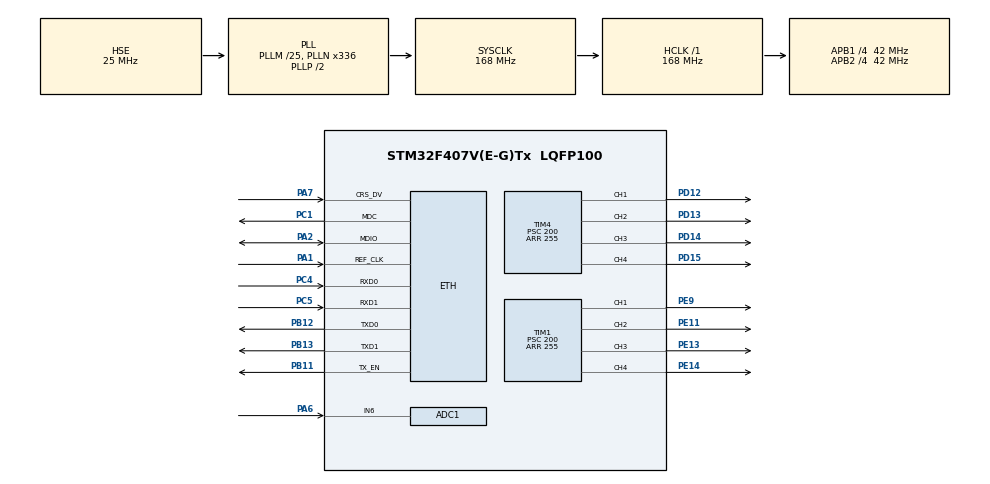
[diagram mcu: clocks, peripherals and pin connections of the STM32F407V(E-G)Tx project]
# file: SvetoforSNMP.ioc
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ADC1.Channel-0\#ChannelRegularConversion=ADC_CHANNEL_6
ADC1.ContinuousConvMode=DISABLE
ADC1.NbrOfConversion=1
ADC1.NbrOfConversionFlag=1
ADC1.Rank-0\#ChannelRegularConversion=1
ADC1.SamplingTime-0\#ChannelRegularConversion=ADC_SAMPLETIME_3CYCLES
ADC1.master=1
ETH.MACAddr=00\:13\:37\:01\:23\:45
ETH.MediaInterface=ETH_MEDIA_INTERFACE_RMII
ETH.PHY_Name_RMII=DP83848_PHY_ADDRESS
ETH.PhyAddress=1
FREERTOS.Tasks01=HTTPserver,0,2560,HTTPinit,Default,NULL,Dynamic,NULL,NULL;temperature,0,1280,temp_measur,Default,NULL,Dynamic,NULL,NULL;modBus,0,1280,modBusInit,Default,NULL,Dynamic,NULL,NULL
FREERTOS.configMAX_CO_ROUTINE_PRIORITIES=4
FREERTOS.configMINIMAL_STACK_SIZE=512
FREERTOS.configTOTAL_HEAP_SIZE=52720
IWDG.Prescaler=IWDG_PRESCALER_256
LWIP.DEFAULT_ACCEPTMBOX_SIZE=12
LWIP.DEFAULT_TCP_RECVMBOX_SIZE=12
LWIP.DEFAULT_THREAD_STACKSIZE=2048
LWIP.DEFAULT_UDP_RECVMBOX_SIZE=12
LWIP.GATEWAY_ADDRESS=192.168.000.001
LWIP.IP_ADDRESS=192.168.000.010
LWIP.LWIP_DHCP=0
LWIP.LWIP_HTTPD=1
LWIP.LWIP_HTTPD_CGI=1
LWIP.LWIP_HTTPD_CGI_SSI=0
LWIP.LWIP_HTTPD_MAX_TAG_NAME_LEN=26
LWIP.LWIP_HTTPD_SSI=1
LWIP.LWIP_HTTPD_SSI_MULTIPART=0
LWIP.LWIP_MIB2_CALLBACKS=0
LWIP.LWIP_SNMP=1
LWIP.MEMP_NUM_TCP_PCB=20
LWIP.MEMP_NUM_TCP_SEG=24
LWIP.MEMP_NUM_UDP_PCB=20
LWIP.MEM_SIZE=2048
LWIP.NETMASK_ADDRESS=255.255.255.000
LWIP.SLIPIF_THREAD_STACKSIZE=2048
LWIP.SNMP_STACK_SIZE=2048
LWIP.SNMP_THREAD_PRIO=6
LWIP.SNMP_USE_NETCONN=1
LWIP.SNMP_USE_RAW=0
LWIP.TCPIP_THREAD_STACKSIZE=2048
LWIP.TCP_MSS=460
LWIP.TCP_SND_BUF=1840
LWIP.TCP_WND=3096
LWIP.Version=v2.0.3_Cube
Mcu.Family=STM32F4
Mcu.Name=STM32F407V(E-G)Tx
Mcu.Package=LQFP100
NVIC.ADC_IRQn=true\:5\:0\:false\:false\:true\:true\:true\:true
NVIC.ETH_IRQn=true\:5\:0\:false\:false\:true\:true\:false\:true
NVIC.PriorityGroup=NVIC_PRIORITYGROUP_4
NVIC.TIM2_IRQn=true\:0\:0\:false\:false\:true\:false\:false\:true
NVIC.TimeBase=TIM2_IRQn
NVIC.TimeBaseIP=TIM2
PA1.Mode=RMII
PA1.Signal=ETH_REF_CLK
PA13.Mode=Serial_Wire
PA13.Signal=SYS_JTMS-SWDIO
PA14.Mode=Serial_Wire
PA14.Signal=SYS_JTCK-SWCLK
PA2.Mode=RMII
PA2.Signal=ETH_MDIO
PA6.Signal=ADCx_IN6
PA7.Mode=RMII
PA7.Signal=ETH_CRS_DV
PB11.Mode=RMII
PB11.Signal=ETH_TX_EN
PB12.Mode=RMII
PB12.Signal=ETH_TXD0
PB13.Mode=RMII
PB13.Signal=ETH_TXD1
PC1.Mode=RMII
PC1.Signal=ETH_MDC
PC4.Mode=RMII
PC4.Signal=ETH_RXD0
PC5.Mode=RMII
PC5.Signal=ETH_RXD1
PD12.Signal=S_TIM4_CH1
PD13.Signal=S_TIM4_CH2
PD14.Signal=S_TIM4_CH3
PD15.Signal=S_TIM4_CH4
PE11.Signal=S_TIM1_CH2
PE13.Signal=S_TIM1_CH3
PE14.Signal=S_TIM1_CH4
PE9.Signal=S_TIM1_CH1
PH0-OSC_IN.Mode=HSE-External-Oscillator
PH0-OSC_IN.Signal=RCC_OSC_IN
PH1-OSC_OUT.Mode=HSE-External-Oscillator
PH1-OSC_OUT.Signal=RCC_OSC_OUT
ProjectManager.HeapSize=0x2000
ProjectManager.StackSize=0x4000
ProjectManager.TargetToolchain=SW4STM32
RCC.48MHZClocksFreq_Value=84000000
RCC.AHBFreq_Value=168000000
RCC.APB1CLKDivider=RCC_HCLK_DIV4
RCC.APB1Freq_Value=42000000
RCC.APB1TimFreq_Value=84000000
RCC.APB2CLKDivider=RCC_HCLK_DIV4
RCC.APB2Freq_Value=42000000
RCC.APB2TimFreq_Value=84000000
RCC.CortexFreq_Value=168000000
RCC.HCLKFreq_Value=168000000
RCC.HSE_VALUE=25000000
RCC.HSI_VALUE=16000000
RCC.LSE_VALUE=32768
RCC.PLLM=25
RCC.PLLN=336
RCC.PLLSourceVirtual=RCC_PLLSOURCE_HSE
RCC.SYSCLKFreq_VALUE=168000000
RCC.SYSCLKSource=RCC_SYSCLKSOURCE_PLLCLK
RCC.VCOOutputFreq_Value=336000000
SH.ADCx_IN6.0=ADC1_IN6,IN6
SH.S_TIM1_CH1.0=TIM1_CH1,PWM Generation1 CH1
SH.S_TIM1_CH2.0=TIM1_CH2,PWM Generation2 CH2
SH.S_TIM1_CH3.0=TIM1_CH3,PWM Generation3 CH3
SH.S_TIM1_CH4.0=TIM1_CH4,PWM Generation4 CH4
SH.S_TIM4_CH1.0=TIM4_CH1,PWM Generation1 CH1
SH.S_TIM4_CH2.0=TIM4_CH2,PWM Generation2 CH2
SH.S_TIM4_CH3.0=TIM4_CH3,PWM Generation3 CH3
SH.S_TIM4_CH4.0=TIM4_CH4,PWM Generation4 CH4
TIM1.Channel-PWM\ Generation1\ CH1=TIM_CHANNEL_1
TIM1.Channel-PWM\ Generation2\ CH2=TIM_CHANNEL_2
TIM1.Channel-PWM\ Generation3\ CH3=TIM_CHANNEL_3
TIM1.Channel-PWM\ Generation4\ CH4=TIM_CHANNEL_4
TIM1.Period=255
TIM1.Prescaler=200
TIM4.Channel-PWM\ Generation1\ CH1=TIM_CHANNEL_1
TIM4.Channel-PWM\ Generation2\ CH2=TIM_CHANNEL_2
TIM4.Channel-PWM\ Generation3\ CH3=TIM_CHANNEL_3
TIM4.Channel-PWM\ Generation4\ CH4=TIM_CHANNEL_4
TIM4.Period=255
TIM4.Prescaler=200
VP_FREERTOS_VS_CMSIS_V1.Mode=CMSIS_V1
VP_IWDG_VS_IWDG.Mode=IWDG_Activate
VP_LWIP_VS_Enabled.Mode=Enabled
VP_SYS_VS_tim2.Mode=TIM2
board=LAN8720_HTTP_SERVER_RAW

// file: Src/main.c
/* USER CODE BEGIN Header */
/**
 ******************************************************************************
 * @           : main.c
 * @brief          : Main program body
 ******************************************************************************
 * @attention
 *
 * <h2><center>&copy; Copyright (c) 2021 STMicroelectronics.
 * All rights reserved.</center></h2>
 *
 * This software component is licensed by ST under Ultimate Liberty license
 * SLA0044, the "License"; You may not use this file except in compliance with
 * the License. You may obtain a copy of the License at:
 *                             www.st.com/SLA0044
 *
 ******************************************************************************
 */
/* USER CODE END Header */

#include "main.h"
#include "cmsis_os.h"
#include "lwip.h"

/* USER CODE BEGIN Includes */
#include "lwip/apps/httpd.h"
#include "stdint.h"
#include "string.h"
#include "my_mibs.h"
#include "ssi.h"
#include "cgi.h"
#include "math.h"
#include "lwip/opt.h"
#include "lwip/arch.h"
#include "lwip/api.h"
#include "lwip/apps/fs.h"
#include "flash_if.h"
#include "flash_write.h"
#include "net_param_init.h"
/* USER CODE END Includes */

/* USER CODE BEGIN PTD */
osMailQId TemperatureHandle;
/* USER CODE END PTD */

/* USER CODE BEGIN PD */
typedef struct struct_sock_t {

	struct netconn *conn;
} struct_sock;
struct_sock sock01;
uint16_t tcp_port = 502;
/* USER CODE END PD */

/* USER CODE BEGIN PM */

/* initialization SSI and CGI */
extern uint16_t SSI_Handler(int iIndex, char *pcInsert, int iInsertLen);
extern char const** TAGS;

extern const tCGI CLR_All_CGI;
extern const tCGI CLR1_CGI;
extern const tCGI CLR2_CGI;
extern const tCGI IP_CGI;
extern const tCGI MAC_CGI;
extern const tCGI MSK_CGI;
extern const tCGI GTW_CGI;

extern tCGI CGI_TAB[7];

extern uint8_t Red1_str[3];
extern uint8_t Red2_str[3];
extern uint8_t Green1_str[3];
extern uint8_t Green2_str[3];
extern uint8_t Blue1_str[3];
extern uint8_t Blue2_str[3];
extern uint8_t White1_str[3];
extern uint8_t White2_str[3];

extern const struct snmp_mib mib2;
static const struct snmp_mib *my_snmp_mibs[] = { &mib2, &pashnin_mib };

u8_t * syscontact_str = (u8_t*) "Si Tech";
u16_t syscontact_len = sizeof("Si Tech");
u8_t * syslocation_str = (u8_t*) "SNMP traffic light";
u16_t syslocation_len = sizeof("SNMP traffic light");
u8_t * sysname_str = (u8_t*) "Traffic light";
u16_t sysname_len = sizeof("Traffic light");
u16_t bufsize = 256;
const u8_t * sysdescr = (u8_t*) "SNMP traffic light made in Si Tech ";
const u16_t sysdescr_len = sizeof("SNMP traffic light made in Si Tech ");
//temperature for SSI and SNMP
float T_avg = 0;

/* USER CODE END PM */

ADC_HandleTypeDef hadc1;

IWDG_HandleTypeDef hiwdg;

TIM_HandleTypeDef htim1;
TIM_HandleTypeDef htim4;

osThreadId HTTPserverHandle;
osThreadId temperatureHandle;
osThreadId modBusHandle;

void SystemClock_Config(void);
static void MX_GPIO_Init(void);
static void MX_ADC1_Init(void);
static void MX_TIM1_Init(void);
static void MX_TIM4_Init(void);
static void MX_IWDG_Init(void);
void HTTPinit(void const * argument);
void temp_measur(void const * argument);
void modBusInit(void const * argument);

/* USER CODE BEGIN PFP */
void generate_zero(uint8_t *buf, uint8_t size, uint8_t len) {

	for (int j = 0; j < len; j++) {
		buf[size - 1 - j] = buf[len - 1 - j];
	}
	for (int i = 0; i < size - len; i++) {
		buf[i] = '0';
	}
}
/* USER CODE END PFP */

int main(void) {
	/* USER CODE BEGIN 1 */
	__enable_irq();
	/* traffic light start data initialization */
	ColorRGBW[0] = 0;
	ColorRGBW[1] = 0;
	ColorRGBW[2] = 0;
	ColorRGBW[3] = 0;
	ColorRGBW[4] = 0;
	ColorRGBW[5] = 0;
	ColorRGBW[6] = 0;
	ColorRGBW[7] = 0;

	for (int i = 0; i < 3; i++) {
		Red1_str[i] = '0';
		Red2_str[i] = '0';
		Green1_str[i] = '0';
		Green2_str[i] = '0';
		Blue1_str[i] = '0';
		Blue2_str[i] = '0';
		White1_str[i] = '0';
		White2_str[i] = '0';
	}

	/* USER CODE END 1 */

	/* MCU Configuration--------------------------------------------------------*/

	/* Reset of all peripherals, Initializes the Flash interface and the Systick. */
	HAL_Init();

	/* USER CODE BEGIN Init */
	osMailQDef(Temperature, 1, data);
	TemperatureHandle = osMailCreate(osMailQ(Temperature), NULL);
	/* USER CODE END Init */

	/* Configure the system clock */
	SystemClock_Config();

	/* USER CODE BEGIN SysInit */
	//Initialize net parameters
	Net_Param_init();
	/* USER CODE END SysInit */

	/* Initialize all configured peripherals */
	MX_GPIO_Init();
	MX_LWIP_Init();
	MX_ADC1_Init();
	MX_TIM1_Init();
	MX_TIM4_Init();
	MX_IWDG_Init();

	/* Create the thread(s) */
	/* definition and creation of HTTPserver */
	osThreadDef(HTTPserver, HTTPinit, osPriorityNormal, 0, 2560);
	HTTPserverHandle = osThreadCreate(osThread(HTTPserver), NULL);

	/* definition and creation of temperature */
	osThreadDef(temperature, temp_measur, osPriorityNormal, 0, 1280);
	temperatureHandle = osThreadCreate(osThread(temperature), NULL);

	/* definition and creation of modBus */
	osThreadDef(modBus, modBusInit, osPriorityNormal, 0, 1280);
	modBusHandle = osThreadCreate(osThread(modBus), NULL);

	/* Start scheduler */
	osKernelStart();

	/* We should never get here as control is now taken by the scheduler */

	/* Infinite loop */
	while (1) {

	}
}

void SystemClock_Config(void) {
	RCC_OscInitTypeDef RCC_OscInitStruct = { 0 };
	RCC_ClkInitTypeDef RCC_ClkInitStruct = { 0 };

	/** Configure the main internal regulator output voltage
	 */
	__HAL_RCC_PWR_CLK_ENABLE()
	;
	__HAL_PWR_VOLTAGESCALING_CONFIG(PWR_REGULATOR_VOLTAGE_SCALE1);
	/** Initializes the CPU, AHB and APB busses clocks
	 */
	RCC_OscInitStruct.OscillatorType = RCC_OSCILLATORTYPE_LSI
			| RCC_OSCILLATORTYPE_HSE;
	RCC_OscInitStruct.HSEState = RCC_HSE_ON;
	RCC_OscInitStruct.LSIState = RCC_LSI_ON;
	RCC_OscInitStruct.PLL.PLLState = RCC_PLL_ON;
	RCC_OscInitStruct.PLL.PLLSource = RCC_PLLSOURCE_HSE;
	RCC_OscInitStruct.PLL.PLLM = 25;
	RCC_OscInitStruct.PLL.PLLN = 336;
	RCC_OscInitStruct.PLL.PLLP = RCC_PLLP_DIV2;
	RCC_OscInitStruct.PLL.PLLQ = 4;
	if (HAL_RCC_OscConfig(&RCC_OscInitStruct) != HAL_OK) {
		Error_Handler();
	}
	/** Initializes the CPU, AHB and APB busses clocks
	 */
	RCC_ClkInitStruct.ClockType = RCC_CLOCKTYPE_HCLK | RCC_CLOCKTYPE_SYSCLK
			| RCC_CLOCKTYPE_PCLK1 | RCC_CLOCKTYPE_PCLK2;
	RCC_ClkInitStruct.SYSCLKSource = RCC_SYSCLKSOURCE_PLLCLK;
	RCC_ClkInitStruct.AHBCLKDivider = RCC_SYSCLK_DIV1;
	RCC_ClkInitStruct.APB1CLKDivider = RCC_HCLK_DIV4;
	RCC_ClkInitStruct.APB2CLKDivider = RCC_HCLK_DIV4;

	if (HAL_RCC_ClockConfig(&RCC_ClkInitStruct, FLASH_LATENCY_5) != HAL_OK) {
		Error_Handler();
	}
}

static void MX_ADC1_Init(void) {

	ADC_ChannelConfTypeDef sConfig = { 0 };

	/** Configure the global features of the ADC (Clock, Resolution, Data Alignment and number of conversion)
	 */
	hadc1.Instance = ADC1;
	hadc1.Init.ClockPrescaler = ADC_CLOCK_SYNC_PCLK_DIV2;
	hadc1.Init.Resolution = ADC_RESOLUTION_12B;
	hadc1.Init.ScanConvMode = DISABLE;
	hadc1.Init.ContinuousConvMode = DISABLE;
	hadc1.Init.DiscontinuousConvMode = DISABLE;
	hadc1.Init.ExternalTrigConvEdge = ADC_EXTERNALTRIGCONVEDGE_NONE;
	hadc1.Init.ExternalTrigConv = ADC_SOFTWARE_START;
	hadc1.Init.DataAlign = ADC_DATAALIGN_RIGHT;
	hadc1.Init.NbrOfConversion = 1;
	hadc1.Init.DMAContinuousRequests = DISABLE;
	hadc1.Init.EOCSelection = ADC_EOC_SINGLE_CONV;
	if (HAL_ADC_Init(&hadc1) != HAL_OK) {
		Error_Handler();
	}
	/** Configure for the selected ADC regular channel its corresponding rank in the sequencer and its sample time.
	 */
	sConfig.Channel = ADC_CHANNEL_6;
	sConfig.Rank = 1;
	sConfig.SamplingTime = ADC_SAMPLETIME_3CYCLES;
	if (HAL_ADC_ConfigChannel(&hadc1, &sConfig) != HAL_OK) {
		Error_Handler();
	}

}

static void MX_IWDG_Init(void) {

	hiwdg.Instance = IWDG;
	hiwdg.Init.Prescaler = IWDG_PRESCALER_256;
	hiwdg.Init.Reload = 4095;
	if (HAL_IWDG_Init(&hiwdg) != HAL_OK) {
		Error_Handler();
	}

}

static void MX_TIM1_Init(void) {

	TIM_MasterConfigTypeDef sMasterConfig = { 0 };
	TIM_OC_InitTypeDef sConfigOC = { 0 };
	TIM_BreakDeadTimeConfigTypeDef sBreakDeadTimeConfig = { 0 };

	htim1.Instance = TIM1;
	htim1.Init.Prescaler = 200;
	htim1.Init.CounterMode = TIM_COUNTERMODE_UP;
	htim1.Init.Period = 255;
	htim1.Init.ClockDivision = TIM_CLOCKDIVISION_DIV1;
	htim1.Init.RepetitionCounter = 0;
	htim1.Init.AutoReloadPreload = TIM_AUTORELOAD_PRELOAD_DISABLE;
	if (HAL_TIM_PWM_Init(&htim1) != HAL_OK) {
		Error_Handler();
	}
	sMasterConfig.MasterOutputTrigger = TIM_TRGO_RESET;
	sMasterConfig.MasterSlaveMode = TIM_MASTERSLAVEMODE_DISABLE;
	if (HAL_TIMEx_MasterConfigSynchronization(&htim1, &sMasterConfig)
			!= HAL_OK) {
		Error_Handler();
	}
	sConfigOC.OCMode = TIM_OCMODE_PWM1;
	sConfigOC.Pulse = 0;
	sConfigOC.OCPolarity = TIM_OCPOLARITY_HIGH;
	sConfigOC.OCNPolarity = TIM_OCNPOLARITY_HIGH;
	sConfigOC.OCFastMode = TIM_OCFAST_DISABLE;
	sConfigOC.OCIdleState = TIM_OCIDLESTATE_RESET;
	sConfigOC.OCNIdleState = TIM_OCNIDLESTATE_RESET;
	if (HAL_TIM_PWM_ConfigChannel(&htim1, &sConfigOC, TIM_CHANNEL_1)
			!= HAL_OK) {
		Error_Handler();
	}
	if (HAL_TIM_PWM_ConfigChannel(&htim1, &sConfigOC, TIM_CHANNEL_2)
			!= HAL_OK) {
		Error_Handler();
	}
	if (HAL_TIM_PWM_ConfigChannel(&htim1, &sConfigOC, TIM_CHANNEL_3)
			!= HAL_OK) {
		Error_Handler();
	}
	if (HAL_TIM_PWM_ConfigChannel(&htim1, &sConfigOC, TIM_CHANNEL_4)
			!= HAL_OK) {
		Error_Handler();
	}
	sBreakDeadTimeConfig.OffStateRunMode = TIM_OSSR_DISABLE;
	sBreakDeadTimeConfig.OffStateIDLEMode = TIM_OSSI_DISABLE;
	sBreakDeadTimeConfig.LockLevel = TIM_LOCKLEVEL_OFF;
	sBreakDeadTimeConfig.DeadTime = 0;
	sBreakDeadTimeConfig.BreakState = TIM_BREAK_DISABLE;
	sBreakDeadTimeConfig.BreakPolarity = TIM_BREAKPOLARITY_HIGH;
	sBreakDeadTimeConfig.AutomaticOutput = TIM_AUTOMATICOUTPUT_DISABLE;
	if (HAL_TIMEx_ConfigBreakDeadTime(&htim1, &sBreakDeadTimeConfig)
			!= HAL_OK) {
		Error_Handler();
	}
	HAL_TIM_MspPostInit(&htim1);

}

static void MX_TIM4_Init(void) {

	TIM_MasterConfigTypeDef sMasterConfig = { 0 };
	TIM_OC_InitTypeDef sConfigOC = { 0 };

	htim4.Instance = TIM4;
	htim4.Init.Prescaler = 200;
	htim4.Init.CounterMode = TIM_COUNTERMODE_UP;
	htim4.Init.Period = 255;
	htim4.Init.ClockDivision = TIM_CLOCKDIVISION_DIV1;
	htim4.Init.AutoReloadPreload = TIM_AUTORELOAD_PRELOAD_DISABLE;
	if (HAL_TIM_PWM_Init(&htim4) != HAL_OK) {
		Error_Handler();
	}
	sMasterConfig.MasterOutputTrigger = TIM_TRGO_RESET;
	sMasterConfig.MasterSlaveMode = TIM_MASTERSLAVEMODE_DISABLE;
	if (HAL_TIMEx_MasterConfigSynchronization(&htim4, &sMasterConfig)
			!= HAL_OK) {
		Error_Handler();
	}
	sConfigOC.OCMode = TIM_OCMODE_PWM1;
	sConfigOC.Pulse = 0;
	sConfigOC.OCPolarity = TIM_OCPOLARITY_HIGH;
	sConfigOC.OCFastMode = TIM_OCFAST_DISABLE;
	if (HAL_TIM_PWM_ConfigChannel(&htim4, &sConfigOC, TIM_CHANNEL_1)
			!= HAL_OK) {
		Error_Handler();
	}
	if (HAL_TIM_PWM_ConfigChannel(&htim4, &sConfigOC, TIM_CHANNEL_2)
			!= HAL_OK) {
		Error_Handler();
	}
	if (HAL_TIM_PWM_ConfigChannel(&htim4, &sConfigOC, TIM_CHANNEL_3)
			!= HAL_OK) {
		Error_Handler();
	}
	if (HAL_TIM_PWM_ConfigChannel(&htim4, &sConfigOC, TIM_CHANNEL_4)
			!= HAL_OK) {
		Error_Handler();
	}
	HAL_TIM_MspPostInit(&htim4);

}

static void MX_GPIO_Init(void) {

	/* GPIO Ports Clock Enable */
	__HAL_RCC_GPIOH_CLK_ENABLE()
	;
	__HAL_RCC_GPIOC_CLK_ENABLE()
	;
	__HAL_RCC_GPIOA_CLK_ENABLE()
	;
	__HAL_RCC_GPIOE_CLK_ENABLE()
	;
	__HAL_RCC_GPIOB_CLK_ENABLE()
	;
	__HAL_RCC_GPIOD_CLK_ENABLE()
	;

}

/* USER CODE BEGIN 4 */
static void tcp_thread(void *arg) {

	err_t err, recv_err;
	struct netconn *conn;
	struct netbuf *inbuf;
	struct netconn *newconn;
	struct_sock *arg_sock;
	arg_sock = (struct_sock*) arg;
	conn = arg_sock->conn;
	u16_t buflen, buflen_answer;
	uint8_t* buf;
	uint8_t data[100] = { '\0' };

	for (;;) {

		err = netconn_accept(conn, &newconn);
		if (err == ERR_OK) {
			for (;;) {

				recv_err = netconn_recv(newconn, &inbuf);
				if (recv_err == ERR_OK) {
					netbuf_data(inbuf, (void**) &buf, &buflen);
					if ((buf[0] == 0x0D) || (buf[0] == 0x0A)) {
						netbuf_delete(inbuf);
						continue;
					}

					memset(data, '\0', sizeof(data));
					memcpy(data, buf, buflen);

					//read analog output
					if (data[7] == 0x3) {

						data[8] = data[11] * 2;
						data[5] = data[8] + 3;
						buflen_answer = data[5] + 6;

						if (data[9] == 0 && data[11] == 4) {
							for (int i = 0; i <= 8; i = i + 2) {
								data[9 + i] = 0;
								data[10 + i] = ColorRGBW[i / 2];
							}
						} else if (data[9] == 4 && data[11] == 4) {
							for (int i = 0; i <= 8; i = i + 2) {
								data[9 + i] = 0;
								data[10 + i] = ColorRGBW[4 + i / 2];
							}

						} else if (data[9] == 0 && data[11] == 8) {
							for (int i = 0; i <= 16; i = i + 2) {
								data[9 + i] = 0;
								data[10 + i] = ColorRGBW[i / 2];
							}
						} else {
							//if incorrect parameter
							buflen_answer = 9;
							data[5] = 3;
							data[7] = data[7] | 128;
							data[8] = 3;
						}
					}

					//recording multiple analog outputs
					else if (data[7] == 0x10) {

						buflen_answer = 12;
						data[5] = data[11] * 2 + 2;

						//1 traffic light
						if (data[9] == 0 && data[11] == 4 && data[12] == 8) {

							memset(Red1_str, '\0', sizeof(Red1_str));
							memset(Green1_str, '\0', sizeof(Green1_str));
							memset(Blue1_str, '\0', sizeof(Blue1_str));
							memset(White1_str, '\0', sizeof(White1_str));

							TIM1->CCR4 = data[14];
							TIM1->CCR3 = data[16];
							TIM1->CCR1 = data[18];
							TIM1->CCR2 = data[20];

							ColorRGBW[0] = data[14];
							ColorRGBW[1] = data[16];
							ColorRGBW[2] = data[18];
							ColorRGBW[3] = data[20];

							itoa(data[14], Red1_str, 10);
							itoa(data[16], Green1_str, 10);
							itoa(data[18], Blue1_str, 10);
							itoa(data[20], White1_str, 10);

							generate_zero(Red1_str, sizeof(Red1_str),
									strlen(Red1_str));
							generate_zero(Green1_str, sizeof(Green1_str),
									strlen(Green1_str));
							generate_zero(Blue1_str, sizeof(Blue1_str),
									strlen(Blue1_str));
							generate_zero(White1_str, sizeof(White1_str),
									strlen(White1_str));

						} else if (data[9] == 4 && data[11] == 4
								&& data[12] == 8) {

							//2 traffic light
							memset(Red2_str, '\0', sizeof(Red2_str));
							memset(Green2_str, '\0', sizeof(Green2_str));
							memset(Blue2_str, '\0', sizeof(Blue2_str));
							memset(White2_str, '\0', sizeof(White2_str));

							TIM4->CCR1 = data[14];
							TIM4->CCR2 = data[16];
							TIM4->CCR3 = data[18];
							TIM4->CCR4 = data[20];

							ColorRGBW[4] = data[14];
							ColorRGBW[5] = data[16];
							ColorRGBW[6] = data[18];
							ColorRGBW[7] = data[20];

							itoa(data[14], Red2_str, 10);
							itoa(data[16], Green2_str, 10);
							itoa(data[18], Blue2_str, 10);
							itoa(data[20], White2_str, 10);

							generate_zero(Red2_str, sizeof(Red2_str),
									strlen(Red2_str));
							generate_zero(Green2_str, sizeof(Green2_str),
									strlen(Green2_str));
							generate_zero(Blue2_str, sizeof(Blue2_str),
									strlen(Blue2_str));
							generate_zero(White2_str, sizeof(White2_str),
									strlen(White2_str));

						} else if (data[9] == 0 && data[11] == 8
								&& data[12] == 16) {
							//all color

							memset(Red1_str, '\0', sizeof(Red1_str));
							memset(Green1_str, '\0', sizeof(Green1_str));
							memset(Blue1_str, '\0', sizeof(Blue1_str));
							memset(White1_str, '\0', sizeof(White1_str));

							memset(Red2_str, '\0', sizeof(Red2_str));
							memset(Green2_str, '\0', sizeof(Green2_str));
							memset(Blue2_str, '\0', sizeof(Blue2_str));
							memset(White2_str, '\0', sizeof(White2_str));

							TIM1->CCR4 = data[14];
							TIM1->CCR3 = data[16];
							TIM1->CCR1 = data[18];
							TIM1->CCR2 = data[20];

							TIM4->CCR1 = data[22];
							TIM4->CCR2 = data[24];
							TIM4->CCR3 = data[26];
							TIM4->CCR4 = data[28];

							ColorRGBW[0] = data[14];
							ColorRGBW[1] = data[16];
							ColorRGBW[2] = data[18];
							ColorRGBW[3] = data[20];

							ColorRGBW[4] = data[22];
							ColorRGBW[5] = data[24];
							ColorRGBW[6] = data[26];
							ColorRGBW[7] = data[28];

							itoa(data[14], Red1_str, 10);
							itoa(data[16], Green1_str, 10);
							itoa(data[18], Blue1_str, 10);
							itoa(data[20], White1_str, 10);

							itoa(data[22], Red2_str, 10);
							itoa(data[24], Green2_str, 10);
							itoa(data[26], Blue2_str, 10);
							itoa(data[28], White2_str, 10);

							generate_zero(Red1_str, sizeof(Red1_str),
									strlen(Red1_str));
							generate_zero(Green1_str, sizeof(Green1_str),
									strlen(Green1_str));
							generate_zero(Blue1_str, sizeof(Blue1_str),
									strlen(Blue1_str));
							generate_zero(White1_str, sizeof(White1_str),
									strlen(White1_str));

							generate_zero(Red2_str, sizeof(Red2_str),
									strlen(Red2_str));
							generate_zero(Green2_str, sizeof(Green2_str),
									strlen(Green2_str));
							generate_zero(Blue2_str, sizeof(Blue2_str),
									strlen(Blue2_str));
							generate_zero(White2_str, sizeof(White2_str),
									strlen(White2_str));

						} else {
							//if incorrect parameter
							buflen_answer = 9;
							data[5] = 3;
							data[7] = data[7] | 128;
							data[8] = 3;
						}

					} else {
						//if incorrect parameter
						buflen_answer = 9;
						data[5] = 3;
						data[7] = data[7] | 128;
						data[8] = 1;
					}
					netconn_write(newconn, data, buflen_answer, NETCONN_COPY);

					netbuf_delete(inbuf);

				} else {
					netbuf_delete(inbuf);
					netconn_close(newconn);
					netconn_delete(newconn);
					break;
				}

			}

		} else {
			osDelay(1);
		}
	}
}

//calculate temperature
float computeTemp(float u) {
	float resistance;

	float Untc = u / 4096 * 3.3;
	resistance = Untc * 5100.0 / (3.3 - Untc);
	float result = 1 / (1.0 / 298.15 + 1.0 / 4390.0 * log(resistance / 19500))
			- 273.15;
	return result;
}

/* USER CODE END 4 */

void HTTPinit(void const * argument) {
	/* USER CODE BEGIN 5 */

	/* initialization SSI and CGI */
	httpd_init();
	http_set_ssi_handler(SSI_Handler, (char const **) TAGS, 13);
	CGI_TAB[0] = CLR1_CGI;
	CGI_TAB[1] = CLR2_CGI;
	CGI_TAB[2] = IP_CGI;
	CGI_TAB[3] = MAC_CGI;
	CGI_TAB[4] = CLR_All_CGI;
	CGI_TAB[5] = MSK_CGI;
	CGI_TAB[6] = GTW_CGI;
	http_set_cgi_handlers(CGI_TAB, 7);

	/* start PWM */
	HAL_TIM_PWM_Start(&htim1, TIM_CHANNEL_1);
	HAL_TIM_PWM_Start(&htim1, TIM_CHANNEL_2);
	HAL_TIM_PWM_Start(&htim1, TIM_CHANNEL_3);
	HAL_TIM_PWM_Start(&htim1, TIM_CHANNEL_4);

	HAL_TIM_PWM_Start(&htim4, TIM_CHANNEL_1);
	HAL_TIM_PWM_Start(&htim4, TIM_CHANNEL_2);
	HAL_TIM_PWM_Start(&htim4, TIM_CHANNEL_3);
	HAL_TIM_PWM_Start(&htim4, TIM_CHANNEL_4);

//set parameters for SNMP
	snmp_mib2_set_syscontact(syscontact_str, &syscontact_len, bufsize);
	snmp_mib2_set_syslocation(syslocation_str, &syslocation_len, bufsize);
//set to 0 when disabled, >0 when enabled
	snmp_set_auth_traps_enabled(0);
	snmp_mib2_set_sysdescr(sysdescr, &sysdescr_len);
	snmp_mib2_set_sysname(sysname_str, &sysname_len, bufsize);

	snmp_set_mibs(my_snmp_mibs, LWIP_ARRAYSIZE(my_snmp_mibs));
	snmp_init(); //Just after udp_init

//temperature measurement results
	osEvent event2;
	volatile data *d1;
	/* Infinite loop */
	for (;;) {
		event2 = osMailGet(TemperatureHandle, 100);
		if (event2.status == osEventMail) {
			d1 = event2.value.p;
			T_avg = d1->T;
		}

		HAL_IWDG_Refresh(&hiwdg);
		osDelay(1);
	}
	/* USER CODE END 5 */
}

void temp_measur(void const * argument) {
	/* USER CODE BEGIN temp_measur */
	volatile data d;
	volatile data *d_p;
	d_p = &d;
	float T_board;
	/* Infinite loop */
	for (;;) {
		d_p = osMailAlloc(TemperatureHandle, osWaitForever);
		T_board = 0.0;
		for (int i = 0; i < 10; i++) {
			HAL_ADC_Start(&hadc1);
			HAL_ADC_PollForConversion(&hadc1, 100);
			T_board = T_board + HAL_ADC_GetValue(&hadc1);
			HAL_ADC_Stop(&hadc1);
		}
		T_board = T_board / 10.;
		T_board = computeTemp(T_board);
		d.T = T_board;
		osMailPut(TemperatureHandle, &d);
		HAL_IWDG_Refresh(&hiwdg);
		osDelay(1);

	}
	/* USER CODE END temp_measur */
}

void modBusInit(void const * argument) {
	/* USER CODE BEGIN modBusInit */
	struct netconn *conn;
	err_t err;

	conn = netconn_new(NETCONN_TCP);
	if (conn != NULL) {
		sock01.conn = conn;
		err = netconn_bind(conn, NULL, tcp_port);
		if (err == ERR_OK) {
			netconn_listen(conn);
			sys_thread_new("tcp_thread", tcp_thread, (void*) &sock01,
			DEFAULT_THREAD_STACKSIZE, osPriorityNormal);

		} else {
			netconn_delete(conn);
		}
	}
	/* Infinite loop */
	for (;;) {
		osDelay(1);
	}
	/* USER CODE END modBusInit */
}

void HAL_TIM_PeriodElapsedCallback(TIM_HandleTypeDef *htim) {
	if (htim->Instance == TIM2) {
		HAL_IncTick();
	}
}

void Error_Handler(void) {
	/* USER CODE BEGIN Error_Handler_Debug */
	/* User can add his own implementation to report the HAL error return state */
	NVIC_SystemReset();
	/* USER CODE END Error_Handler_Debug */
}

#ifdef  USE_FULL_ASSERT
/**
 * @brief  Reports the name of the source file and the source line number
 *         where the assert_param error has occurred.
 * @param  file: pointer to the source file name
 * @param  line: assert_param error line source number
 * @retval None
 */
void assert_failed(uint8_t *file, uint32_t line)
{
	/* USER CODE BEGIN 6 */
	NVIC_SystemReset();
	/* User can add his own implementation to report the file name and line number,
	 tex: printf("Wrong parameters value: file %s on line %d\r\n", file, line) */
	/* USER CODE END 6 */
}
#endif /* USE_FULL_ASSERT */

/************************ (C) COPYRIGHT STMicroelectronics *****END OF FILE****/
